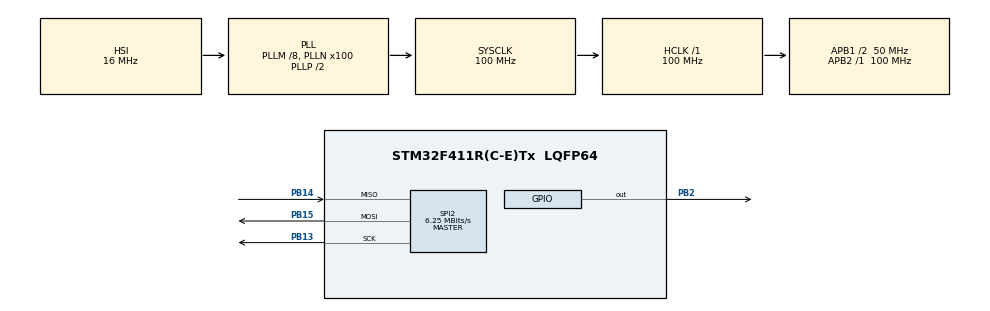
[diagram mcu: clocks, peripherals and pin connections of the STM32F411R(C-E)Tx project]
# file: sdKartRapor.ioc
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FATFS._MAX_SS=4096
FATFS._USE_LFN=1
Mcu.Family=STM32F4
Mcu.Name=STM32F411R(C-E)Tx
Mcu.Package=LQFP64
NVIC.PriorityGroup=NVIC_PRIORITYGROUP_0
PB13.Mode=Full_Duplex_Master
PB13.Signal=SPI2_SCK
PB14.Mode=Full_Duplex_Master
PB14.Signal=SPI2_MISO
PB15.Mode=Full_Duplex_Master
PB15.Signal=SPI2_MOSI
PB2.Signal=GPIO_Output
ProjectManager.HeapSize=0x200
ProjectManager.StackSize=0x400
ProjectManager.TargetToolchain=STM32CubeIDE
RCC.48MHZClocksFreq_Value=50000000
RCC.AHBFreq_Value=100000000
RCC.APB1CLKDivider=RCC_HCLK_DIV2
RCC.APB1Freq_Value=50000000
RCC.APB1TimFreq_Value=100000000
RCC.APB2Freq_Value=100000000
RCC.APB2TimFreq_Value=100000000
RCC.CortexFreq_Value=100000000
RCC.FLatency-AdvancedSettings=FLASH_LATENCY_3
RCC.HCLKFreq_Value=100000000
RCC.HSE_VALUE=8000000
RCC.HSI_VALUE=16000000
RCC.PLLM=8
RCC.PLLN=100
RCC.SYSCLKFreq_VALUE=100000000
RCC.SYSCLKSource=RCC_SYSCLKSOURCE_PLLCLK
RCC.VCOOutputFreq_Value=200000000
SPI2.BaudRatePrescaler=SPI_BAUDRATEPRESCALER_8
SPI2.CalculateBaudRate=6.25 MBits/s
SPI2.Direction=SPI_DIRECTION_2LINES
SPI2.Mode=SPI_MODE_MASTER
SPI2.VirtualType=VM_MASTER
VP_FATFS_VS_Generic.Mode=User_defined
board=NUCLEO-F411RE

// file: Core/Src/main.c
/* USER CODE BEGIN Header */
/**
 ******************************************************************************
 * @file           : main.c
 * @brief          : Main program body
 ******************************************************************************
 * @attention
 *
 * <h2><center>&copy; Copyright (c) 2021 STMicroelectronics.
 * All rights reserved.</center></h2>
 *
 * This software component is licensed by ST under BSD 3-Clause license,
 * the "License"; You may not use this file except in compliance with the
 * License. You may obtain a copy of the License at:
 *                        opensource.org/licenses/BSD-3-Clause
 *
 ******************************************************************************
 */
/* USER CODE END Header */
#include "main.h"
#include "fatfs.h"

/* USER CODE BEGIN Includes */
#include "fatfs_sd.h"
#include "stdio.h"
#include "string.h"
/* USER CODE END Includes */

SPI_HandleTypeDef hspi2;

void SystemClock_Config(void);
static void MX_GPIO_Init(void);
static void MX_SPI2_Init(void);

/* USER CODE BEGIN 0 */

/* SD karta yazılacak buffer'ı temizlemek için bir fonksiyon gerekli. */
void SDbufClear(char *buf, uint8_t bufSize) { // clear the pre generated buffer array

	for (int i = 0; i < bufSize; i++) {

		buf[i] = '\0';

	}

}

/* USER CODE END 0 */

int main(void) {
	/* USER CODE BEGIN 1 */

	/* FATFS için değişkenler */
	FATFS fs;  // file system
	FIL fil; // File
	FRESULT fresult;  // result

	/* SD karta kayıt edilen dosya adı. */
	char SDfileName[15] = "merhaba.txt"; // Array uzunuluğu ihtiyaca göre değiştirilebilir.

	/* USER CODE END 1 */

	/* MCU Configuration--------------------------------------------------------*/

	/* Reset of all peripherals, Initializes the Flash interface and the Systick. */
	HAL_Init();

	/* Configure the system clock */
	SystemClock_Config();

	/* Initialize all configured peripherals */
	MX_GPIO_Init();
	MX_SPI2_Init();
	MX_FATFS_Init();
	/* USER CODE BEGIN 2 */

	/* SD karta bağlanma. */
	fresult = f_mount(&fs, "/", 1);
	if (fresult == FR_OK) {
		// Bağlantı başarılı.
	} else {
		// Bağlantı başarısız.
		while (1) {
		};
	}

	HAL_Delay(500); // Yarım saniye bekleme.

	/* SD kart buffer oluşturma ve temizleme */
	char SDmsg[50];

	/* USER CODE END 2 */

	/* Infinite loop */
	/* USER CODE BEGIN WHILE */
	while (1) {

		/* Mesajı buffer'a aktarma */
		SDbufClear(SDmsg, 50);
		sprintf(SDmsg, "Merhaba dunya!\n");

		/* SD kart dosya oluşturma (Yoksa), SD kart dosyaya bağlanma (Dosya varsa) */
		f_open(&fil, SDfileName, FA_OPEN_APPEND | FA_WRITE);

		/* Mesaj string'ini yerleştirme */
		f_puts(SDmsg, &fil);

		/* SD karta veriyi kaydet. */
		f_close(&fil);

		/* USER CODE END WHILE */

	}
}

void SystemClock_Config(void) {
	RCC_OscInitTypeDef RCC_OscInitStruct = { 0 };
	RCC_ClkInitTypeDef RCC_ClkInitStruct = { 0 };

	/** Configure the main internal regulator output voltage
	 */
	__HAL_RCC_PWR_CLK_ENABLE();
	__HAL_PWR_VOLTAGESCALING_CONFIG(PWR_REGULATOR_VOLTAGE_SCALE1);
	/** Initializes the RCC Oscillators according to the specified parameters
	 * in the RCC_OscInitTypeDef structure.
	 */
	RCC_OscInitStruct.OscillatorType = RCC_OSCILLATORTYPE_HSI;
	RCC_OscInitStruct.HSIState = RCC_HSI_ON;
	RCC_OscInitStruct.HSICalibrationValue = RCC_HSICALIBRATION_DEFAULT;
	RCC_OscInitStruct.PLL.PLLState = RCC_PLL_ON;
	RCC_OscInitStruct.PLL.PLLSource = RCC_PLLSOURCE_HSI;
	RCC_OscInitStruct.PLL.PLLM = 8;
	RCC_OscInitStruct.PLL.PLLN = 100;
	RCC_OscInitStruct.PLL.PLLP = RCC_PLLP_DIV2;
	RCC_OscInitStruct.PLL.PLLQ = 4;
	if (HAL_RCC_OscConfig(&RCC_OscInitStruct) != HAL_OK) {
		Error_Handler();
	}
	/** Initializes the CPU, AHB and APB buses clocks
	 */
	RCC_ClkInitStruct.ClockType = RCC_CLOCKTYPE_HCLK | RCC_CLOCKTYPE_SYSCLK
			| RCC_CLOCKTYPE_PCLK1 | RCC_CLOCKTYPE_PCLK2;
	RCC_ClkInitStruct.SYSCLKSource = RCC_SYSCLKSOURCE_PLLCLK;
	RCC_ClkInitStruct.AHBCLKDivider = RCC_SYSCLK_DIV1;
	RCC_ClkInitStruct.APB1CLKDivider = RCC_HCLK_DIV2;
	RCC_ClkInitStruct.APB2CLKDivider = RCC_HCLK_DIV1;

	if (HAL_RCC_ClockConfig(&RCC_ClkInitStruct, FLASH_LATENCY_3) != HAL_OK) {
		Error_Handler();
	}
}

static void MX_SPI2_Init(void) {

	/* SPI2 parameter configuration*/
	hspi2.Instance = SPI2;
	hspi2.Init.Mode = SPI_MODE_MASTER;
	hspi2.Init.Direction = SPI_DIRECTION_2LINES;
	hspi2.Init.DataSize = SPI_DATASIZE_8BIT;
	hspi2.Init.CLKPolarity = SPI_POLARITY_LOW;
	hspi2.Init.CLKPhase = SPI_PHASE_1EDGE;
	hspi2.Init.NSS = SPI_NSS_SOFT;
	hspi2.Init.BaudRatePrescaler = SPI_BAUDRATEPRESCALER_8;
	hspi2.Init.FirstBit = SPI_FIRSTBIT_MSB;
	hspi2.Init.TIMode = SPI_TIMODE_DISABLE;
	hspi2.Init.CRCCalculation = SPI_CRCCALCULATION_DISABLE;
	hspi2.Init.CRCPolynomial = 10;
	if (HAL_SPI_Init(&hspi2) != HAL_OK) {
		Error_Handler();
	}

}

static void MX_GPIO_Init(void) {
	GPIO_InitTypeDef GPIO_InitStruct = { 0 };

	/* GPIO Ports Clock Enable */
	__HAL_RCC_GPIOB_CLK_ENABLE();

	/*Configure GPIO pin Output Level */
	HAL_GPIO_WritePin(GPIOB, GPIO_PIN_2, GPIO_PIN_RESET);

	/*Configure GPIO pin : PB2 */
	GPIO_InitStruct.Pin = GPIO_PIN_2;
	GPIO_InitStruct.Mode = GPIO_MODE_OUTPUT_PP;
	GPIO_InitStruct.Pull = GPIO_NOPULL;
	GPIO_InitStruct.Speed = GPIO_SPEED_FREQ_LOW;
	HAL_GPIO_Init(GPIOB, &GPIO_InitStruct);

}

void Error_Handler(void) {
	__disable_irq();
	while (1) {
	}
}

/************************ (C) COPYRIGHT STMicroelectronics *****END OF FILE****/
